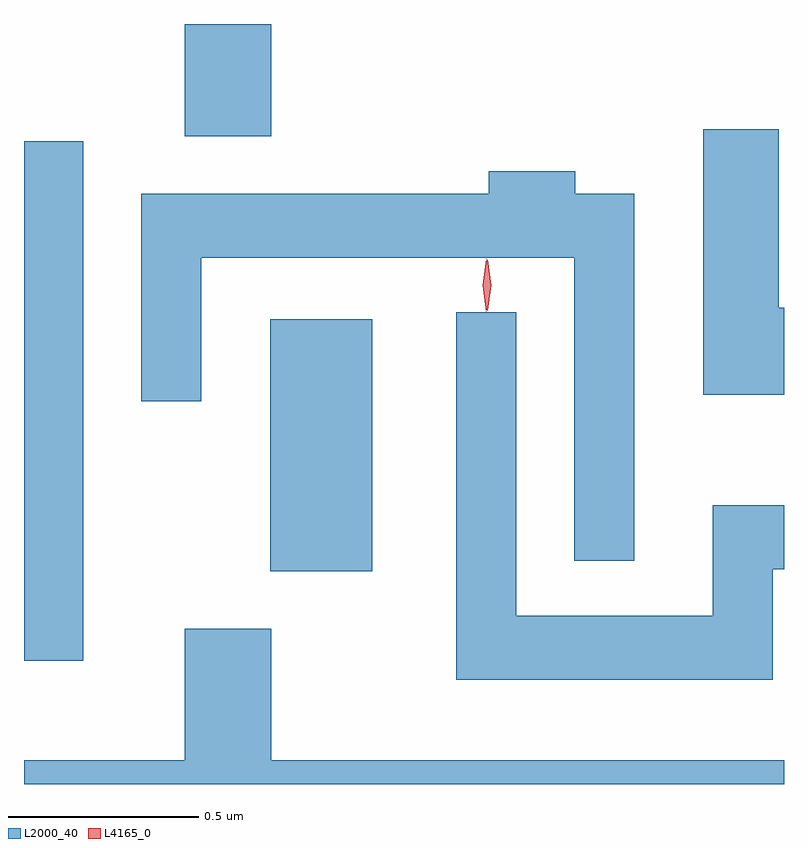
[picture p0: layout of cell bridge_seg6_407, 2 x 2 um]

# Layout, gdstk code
import gdstk
lib = gdstk.Library(unit=1e-6, precision=1e-09)
def R(c, l, rs):  # rectangles x0, y0, x1, y1
    for r in rs: c.add(gdstk.rectangle(r[:2], r[2:], *l))
def P(c, l, *ps):  # polygons
    for p in ps: c.add(gdstk.Polygon(p, *l))
L2000_40 = (2000, 40)
L4165_0 = (4165, 0)

bridge_seg6_407 = lib.new_cell('bridge_seg6_407')
R(bridge_seg6_407, L2000_40, [(984.218,1652.686,984.374,1654.053), (984.866,1652.921,985.134,1653.584), (984.641,1654.066,984.869,1654.361)])
P(bridge_seg6_407, L2000_40, [(986.218,1653.614),(986.204,1653.614),(986.204,1654.084),(986.006,1654.084),(986.006,1653.386),(986.218,1653.386)],
  [(985.824,1653.914),(985.669,1653.914),(985.669,1653.974),(985.441,1653.974),(985.441,1653.914),(984.526,1653.914),(984.526,1653.368),(984.684,1653.368),(984.684,1653.746),(985.666,1653.746),(985.666,1652.948),(985.824,1652.948)],
  [(986.189,1652.926),(986.218,1652.926),(986.218,1653.094),(986.031,1653.094),(986.031,1652.804),(985.514,1652.804),(985.514,1653.603),(985.356,1653.603),(985.356,1652.636),(986.189,1652.636)],
  [(986.218,1652.424),(984.869,1652.424),(984.869,1652.769),(984.641,1652.769),(984.641,1652.424),(984.218,1652.424),(984.218,1652.361),(986.218,1652.361)])
P(bridge_seg6_407, L4165_0, [(985.434,1653.604),(985.425,1653.674),(985.434,1653.742),(985.435,1653.743),(985.435,1653.742),(985.445,1653.674),(985.435,1653.604),(985.435,1653.604)],
  [(985.438,1653.607),(985.437,1653.608),(985.428,1653.674),(985.437,1653.74),(985.437,1653.74),(985.438,1653.74),(985.447,1653.674),(985.438,1653.608)])

lib.write_gds('bridge_seg6_407.gds')
